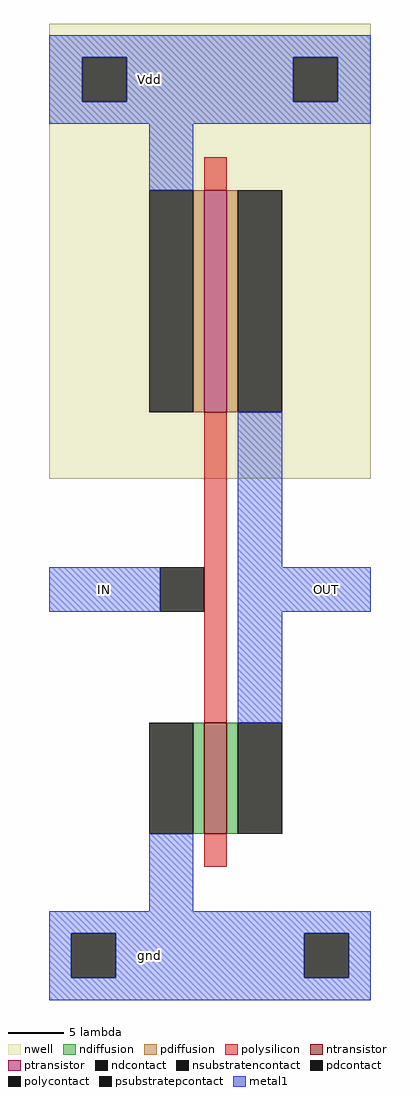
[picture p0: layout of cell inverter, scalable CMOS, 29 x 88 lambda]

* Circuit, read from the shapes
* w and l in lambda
.subckt inverter IN OUT Vdd gnd
M1 OUT IN gnd gnd nfet w=10 l=2
M2 OUT IN Vdd Vdd pfet w=20 l=2
.ends

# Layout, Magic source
magic
tech scmos
<< nwell >>
rect 0 0 29 41
<< ntransistor >>
rect 14 -32 16 -22
<< ptransistor >>
rect 14 6 16 26
<< ndiffusion >>
rect 13 -32 14 -22
rect 16 -32 17 -22
<< pdiffusion >>
rect 13 6 14 26
rect 16 6 17 26
<< ndcontact >>
rect 9 -32 13 -22
rect 17 -32 21 -22
<< pdcontact >>
rect 9 6 13 26
rect 17 6 21 26
<< psubstratepcontact >>
rect 2 -45 6 -41
rect 23 -45 27 -41
<< nsubstratencontact >>
rect 3 34 7 38
rect 22 34 26 38
<< polysilicon >>
rect 14 26 16 29
rect 14 -22 16 6
rect 14 -35 16 -32
<< polycontact >>
rect 10 -12 14 -8
<< metal1 >>
rect 0 38 29 40
rect 0 34 3 38
rect 7 34 22 38
rect 26 34 29 38
rect 0 32 29 34
rect 9 26 13 32
rect 17 -8 21 6
rect 0 -12 10 -8
rect 17 -12 29 -8
rect 17 -22 21 -12
rect 9 -39 13 -32
rect 0 -41 29 -39
rect 0 -45 2 -41
rect 6 -45 23 -41
rect 27 -45 29 -41
rect 0 -47 29 -45
<< labels >>
rlabel metal1 5 -10 5 -10 3 IN
rlabel metal1 9 36 9 36 5 Vdd
rlabel metal1 9 -43 9 -43 1 gnd
rlabel metal1 25 -10 25 -10 7 OUT
<< end >>
